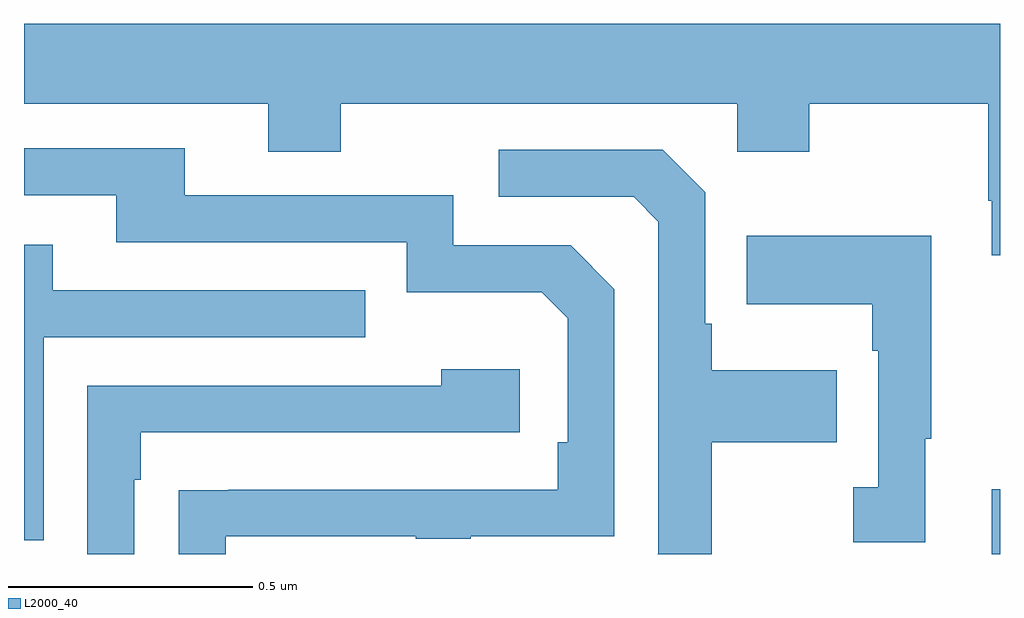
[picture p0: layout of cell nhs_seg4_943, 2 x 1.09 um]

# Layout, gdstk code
import gdstk
lib = gdstk.Library(unit=1e-6, precision=1e-09)
def R(c, l, rs):  # rectangles x0, y0, x1, y1
    for r in rs: c.add(gdstk.rectangle(r[:2], r[2:], *l))
def P(c, l, *ps):  # polygons
    for p in ps: c.add(gdstk.Polygon(p, *l))
L2000_40 = (2000, 40)

nhs_seg4_943 = lib.new_cell('nhs_seg4_943')
R(nhs_seg4_943, L2000_40, [(123.983,791.9,124,792.034)])
P(nhs_seg4_943, L2000_40, [(124,792.988),(122,792.988),(122,792.824),(122.501,792.824),(122.501,792.725),(122.649,792.725),(122.649,792.824),(123.462,792.824),(123.462,792.725),(123.609,792.725),(123.609,792.824),(123.976,792.824),(123.976,792.625),(123.983,792.625),(123.983,792.513),(124,792.513)],
  [(122.413,791.937),(122.803,791.937),(122.803,791.932),(122.915,791.932),(122.915,791.937),(123.21,791.937),(123.21,792.444),(123.12,792.534),(122.88,792.534),(122.88,792.636),(122.329,792.636),(122.329,792.732),(122,792.732),(122,792.636),(122.189,792.636),(122.189,792.54),(122.784,792.54),(122.784,792.437),(123.061,792.437),(123.114,792.384),(123.114,792.13),(123.094,792.13),(123.094,792.033),(122.419,792.033),(122.419,792.032),(122.317,792.032),(122.317,791.9),(122.413,791.9)],
  [(123.409,792.13),(123.665,792.13),(123.665,792.277),(123.409,792.277),(123.409,792.373),(123.396,792.373),(123.396,792.642),(123.309,792.729),(122.973,792.729),(122.973,792.633),(123.249,792.633),(123.3,792.582),(123.3,791.901),(123.299,791.9),(123.409,791.9)],
  [(123.847,792.137),(123.859,792.137),(123.859,792.553),(123.481,792.553),(123.481,792.413),(123.738,792.413),(123.738,792.317),(123.75,792.317),(123.75,792.038),(123.699,792.038),(123.699,791.925),(123.847,791.925)],
  [(122.04,792.345),(122.699,792.345),(122.699,792.441),(122.059,792.441),(122.059,792.535),(122,792.535),(122,791.929),(122.04,791.929)],
  [(122.226,792.053),(122.239,792.053),(122.239,792.15),(123.016,792.15),(123.016,792.28),(122.855,792.28),(122.855,792.246),(122.13,792.246),(122.13,791.9),(122.226,791.9)])

lib.write_gds('nhs_seg4_943.gds')
